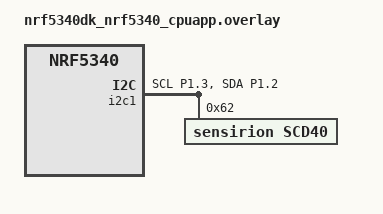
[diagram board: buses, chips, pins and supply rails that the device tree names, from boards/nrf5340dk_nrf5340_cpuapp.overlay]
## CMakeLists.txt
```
cmake_minimum_required(VERSION 3.20.0)
find_package(Zephyr REQUIRED HINTS $ENV{ZEPHYR_BASE})

project(Environmental_Sensor)

target_sources(app PRIVATE
    src/main.c
    src/sensors/scd40.c
    src/mesh/mesh.c
    src/mesh/model_handler.c
)
target_include_directories(app PRIVATE src)
```

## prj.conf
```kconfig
CONFIG_SENSOR=y
CONFIG_SCD4X=y
CONFIG_LOG=y
CONFIG_LOG_DEFAULT_LEVEL=3

# Bluetooth Configuration
CONFIG_BT=y
CONFIG_BT_PERIPHERAL=y
CONFIG_BT_OBSERVER=y
CONFIG_BT_DEVICE_NAME="Mesh Node"

# Persistent storage for provisioning info
CONFIG_SETTINGS=y
CONFIG_BT_SETTINGS=y
CONFIG_FLASH=y
CONFIG_FLASH_MAP=y
CONFIG_NVS=y

# Bluetooth Mesh Configuration
CONFIG_BT_MESH=y
CONFIG_BT_MESH_PB_GATT=y
CONFIG_BT_MESH_GATT_PROXY=y

# Console over USB CDC, the XIAO has no onboard debugger
CONFIG_USB_DEVICE_STACK_NEXT=y
CONFIG_CDC_ACM_SERIAL_INITIALIZE_AT_BOOT=y
CONFIG_UART_LINE_CTRL=y
```

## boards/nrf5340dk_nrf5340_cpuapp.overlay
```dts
&i2c1 {
	status = "okay";
	pinctrl-0 = <&i2c1_default>;
	pinctrl-1 = <&i2c1_sleep>;
	pinctrl-names = "default", "sleep";
	scd40: scd40@62{
		compatible = "sensirion,scd40";
		status = "okay";
		reg = <0x62>;
	};
};

&pinctrl {
	/omit-if-no-ref/ i2c1_default: i2c1_default {
		group1 {
			psels = <NRF_PSEL(TWIM_SCL, 1, 3)>,
			<NRF_PSEL(TWIM_SDA, 1, 2)>;
		};
	};
	/omit-if-no-ref/ i2c1_sleep: i2c1_sleep {
		group1 {
			psels = <NRF_PSEL(TWIM_SCL, 1, 3)>,
			<NRF_PSEL(TWIM_SDA, 1, 2)>;
			low-power-enable;
		};
	};
};
```

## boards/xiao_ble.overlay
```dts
/*
  Seeed XIAO nRF52840
  D4 = SDA (P0.04)
  D5 = SCL (P0.05)
*/

&i2c1 {
	scd40: scd40@62 {
		compatible = "sensirion,scd40";
		status = "okay";
		reg = <0x62>;
	};
};
```

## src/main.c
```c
#include <zephyr/kernel.h>
#include <zephyr/device.h>
#include <zephyr/devicetree.h>
#include <zephyr/drivers/sensor.h>
#include <zephyr/logging/log.h>
#include "sensors/sensors.h"
#include "mesh/mesh.h"

#define SLEEP_TIME_MS 5000

LOG_MODULE_REGISTER(main, LOG_LEVEL_INF);

int main(void)
{
    
    if (mesh_init()) {
        LOG_ERR("mesh init failed");
    }

    if (scd40_init()){
        LOG_ERR("sensor init failed, halting");
        return 0;
    }

    while (1) {
        struct env_reading r;
        if (scd40_read(&r) == 0){
            LOG_INF("CO2: %d ppm, Temp %d.%06d C, RH: %d.%06d %%",
                    r.co2.val1,
                    r.temp.val1, r.temp.val2,
                    r.humidity.val1, r.humidity.val2);

        }    
        k_msleep(SLEEP_TIME_MS);
    }

    return 0;
}
```
